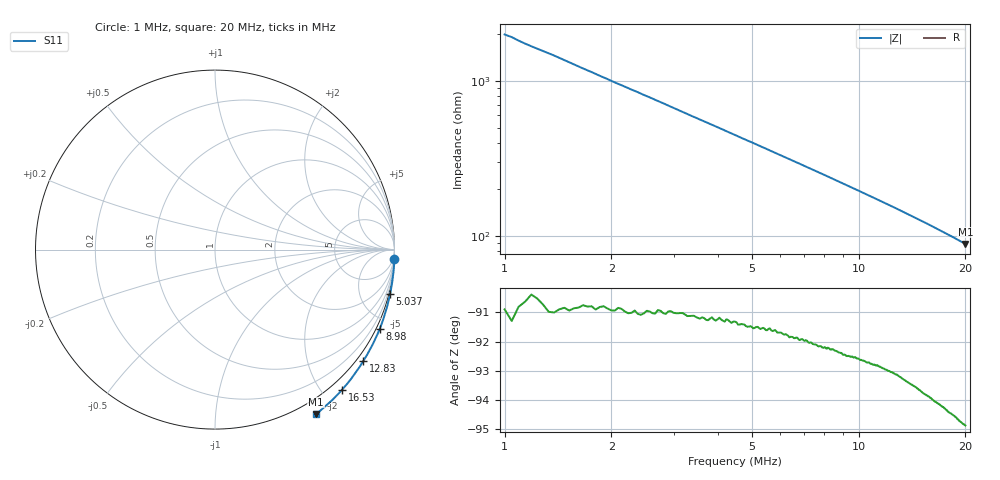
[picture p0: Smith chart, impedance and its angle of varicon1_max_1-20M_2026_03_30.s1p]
# HZ S RI R 50
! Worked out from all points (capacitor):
!   401 points, 1 MHz to 20 MHz, reference 50 ohm
!   read as one part to ground: C = 79.4 pF near 1.095 MHz
!   lowest |Z| = 89.2 ohm at 20 MHz (marker M1)
!   S11 on the Smith chart (normalised r, x): 1 MHz: -1, -40; 5.037 MHz: -0.22, -7.96; 8.98 MHz: -0.19, -4.39; 12.83 MHz: -0.16, -3.00; 16.53 MHz: -0.16, -2.24; 20 MHz: -0.15, -1.78
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1000000  0.9995 -0.0502
1095000  0.9993 -0.055
1380000  0.9988 -0.0687
2330000  0.9952 -0.1158
3375000  0.9892 -0.1676
4040000  0.984 -0.1999
5037500  0.9754 -0.2489
5750000  0.9672 -0.284
6842500  0.9535 -0.3372
7602500  0.9422 -0.374
8125000  0.9338 -0.3992
8980000  0.9183 -0.4405
9597500  0.9059 -0.4698
1.05e7  0.8864 -0.5126
1.10225e7  0.8742 -0.5369
1.16875e7  0.8577 -0.5676
1.28275e7  0.8273 -0.6192
1.2875e7  0.8261 -0.6214
1.39675e7  0.7944 -0.6706
1.525e7  0.7531 -0.7273
1.57725e7  0.7349 -0.7494
1.65325e7  0.7075 -0.7816
1.7625e7  0.6653 -0.8261
1.8195e7  0.6421 -0.8485
1.90975e7  0.6032 -0.8835
1.95725e7  0.5825 -0.901
1.9905e7  0.5669 -0.9131
2e7  0.5626 -0.9163
